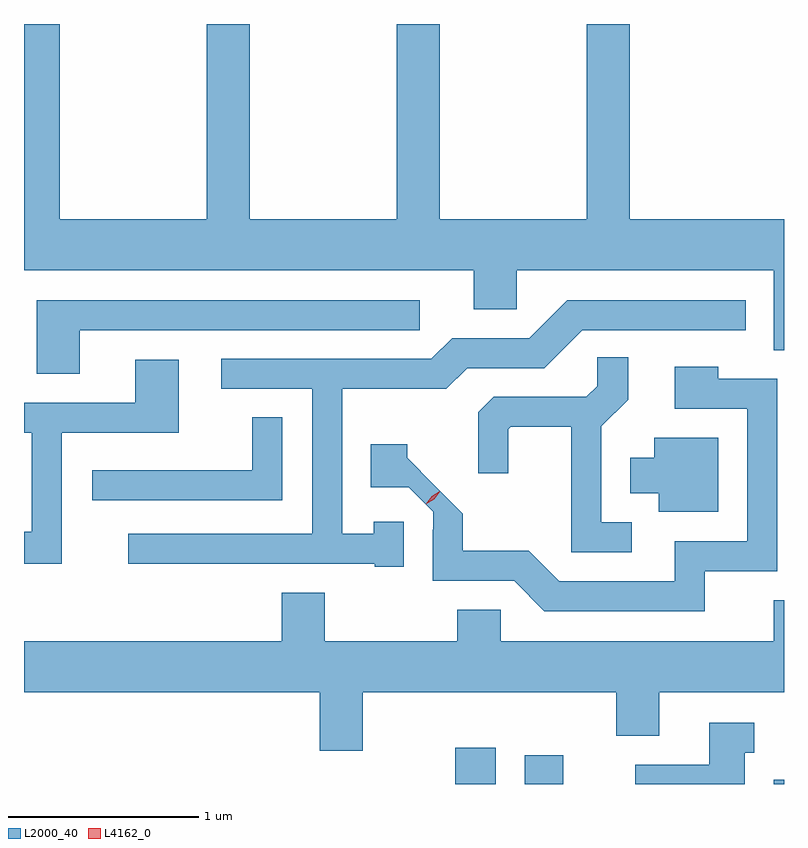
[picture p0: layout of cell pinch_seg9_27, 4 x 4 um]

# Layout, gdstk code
import gdstk
lib = gdstk.Library(unit=1e-6, precision=1e-09)
def R(c, l, rs):  # rectangles x0, y0, x1, y1
    for r in rs: c.add(gdstk.rectangle(r[:2], r[2:], *l))
def P(c, l, *ps):  # polygons
    for p in ps: c.add(gdstk.Polygon(p, *l))
L2000_40 = (2000, 40)
L4162_0 = (4162, 0)

pinch_seg9_27 = lib.new_cell('pinch_seg9_27')
R(pinch_seg9_27, L2000_40, [(639.316,2049.052,639.529,2049.244), (639.681,2049.052,639.884,2049.204), (640.991,2049.052,641.045,2049.074)])
P(pinch_seg9_27, L2000_40, [(641.045,2052.024),(640.234,2052.024),(640.234,2053.052),(640.006,2053.052),(640.006,2052.024),(639.234,2052.024),(639.234,2053.052),(639.006,2053.052),(639.006,2052.024),(638.234,2052.024),(638.234,2053.052),(638.006,2053.052),(638.006,2052.024),(637.234,2052.024),(637.234,2053.052),(637.045,2053.052),(637.045,2051.756),(639.411,2051.756),(639.411,2051.551),(639.639,2051.551),(639.639,2051.756),(640.991,2051.756),(640.991,2051.336),(641.045,2051.336)],
  [(637.339,2051.441),(639.128,2051.441),(639.128,2051.599),(637.111,2051.599),(637.111,2051.211),(637.339,2051.211)],
  [(639.044,2050.433),(638.886,2050.433),(638.886,2050.369),(638.719,2050.369),(638.719,2051.131),(639.267,2051.131),(639.377,2051.241),(639.782,2051.241),(639.982,2051.441),(640.843,2051.441),(640.843,2051.599),(639.904,2051.599),(639.704,2051.399),(639.299,2051.399),(639.189,2051.289),(638.083,2051.289),(638.083,2051.131),(638.561,2051.131),(638.561,2050.369),(637.593,2050.369),(637.593,2050.211),(638.89,2050.211),(638.89,2050.196),(639.044,2050.196)],
  [(640.243,2050.429),(640.084,2050.429),(640.084,2050.934),(640.224,2051.074),(640.224,2051.298),(640.061,2051.298),(640.061,2051.146),(640.004,2051.089),(639.517,2051.089),(639.436,2051.009),(639.436,2050.688),(639.594,2050.688),(639.594,2050.919),(639.607,2050.931),(639.926,2050.931),(639.926,2050.271),(640.243,2050.271)],
  [(637.244,2050.901),(637.859,2050.901),(637.859,2051.284),(637.631,2051.284),(637.631,2051.059),(637.045,2051.059),(637.045,2050.901),(637.086,2050.901),(637.086,2050.379),(637.045,2050.379),(637.045,2050.211),(637.244,2050.211)],
  [(640.629,2050.171),(641.009,2050.171),(641.009,2051.184),(640.699,2051.184),(640.699,2051.249),(640.471,2051.249),(640.471,2051.026),(640.851,2051.026),(640.851,2050.329),(640.471,2050.329),(640.471,2050.119),(639.862,2050.119),(639.702,2050.279),(639.354,2050.279),(639.354,2050.474),(639.206,2050.621),(639.208,2050.623),(639.061,2050.77),(639.061,2050.839),(638.871,2050.839),(638.871,2050.615),(639.07,2050.615),(639.2,2050.485),(639.2,2050.39),(639.196,2050.39),(639.196,2050.121),(639.624,2050.121),(639.784,2049.961),(640.629,2049.961)],
  [(638.404,2050.983),(638.246,2050.983),(638.246,2050.704),(637.403,2050.704),(637.403,2050.546),(638.404,2050.546)],
  [(640.699,2050.874),(640.361,2050.874),(640.361,2050.769),(640.236,2050.769),(640.236,2050.581),(640.386,2050.581),(640.386,2050.486),(640.699,2050.486)],
  [(638.829,2049.536),(640.161,2049.536),(640.161,2049.306),(640.389,2049.306),(640.389,2049.536),(641.045,2049.536),(641.045,2050.019),(640.991,2050.019),(640.991,2049.804),(639.554,2049.804),(639.554,2049.969),(639.326,2049.969),(639.326,2049.804),(638.629,2049.804),(638.629,2050.059),(638.401,2050.059),(638.401,2049.804),(637.045,2049.804),(637.045,2049.536),(638.601,2049.536),(638.601,2049.226),(638.829,2049.226)],
  [(640.839,2049.216),(640.888,2049.216),(640.888,2049.374),(640.651,2049.374),(640.651,2049.154),(640.261,2049.154),(640.261,2049.052),(640.839,2049.052)])
P(pinch_seg9_27, L4162_0, [(639.159,2050.524),(639.159,2050.525),(639.19,2050.566),(639.233,2050.592),(639.234,2050.592),(639.234,2050.591),(639.203,2050.551),(639.159,2050.524)],
  [(639.162,2050.528),(639.162,2050.528),(639.19,2050.566),(639.23,2050.589),(639.23,2050.589),(639.23,2050.588),(639.203,2050.551),(639.163,2050.528)])

lib.write_gds('pinch_seg9_27.gds')
